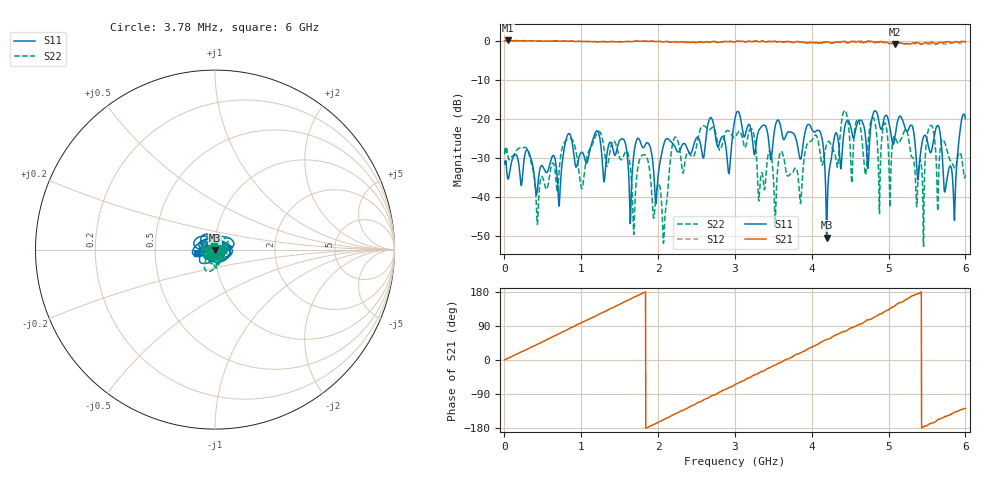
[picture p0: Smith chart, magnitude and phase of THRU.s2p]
# Hz S RI R 50
! RAW DATA - UNCALIBRATED
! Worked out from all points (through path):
!   1600 points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, 3.78 MHz to 6 GHz, reference 50 ohm
!   highest |S21| = 0.07 dB at 45.03 MHz (marker M1); lowest = -0.9 dB at 5.085 GHz (marker M2)
!   lowest |S11| = -50.4 dB at 4.196 GHz (marker M3), VSWR 1.01, Z = 50 - j0.303 ohm
!   |S11| at or under -10 dB: start of sweep to end of sweep
!   |S22| runs from -52.6 to -17.8 dB; largest |S21 - S12| = 0.63
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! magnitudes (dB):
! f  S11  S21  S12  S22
! 3.78 MHz  -31.4  0.0  0.0  -29.1
! 45.03 MHz  -35.3  0.1  0.0  -29.3
! 431.3 MHz  -37.9  -0.1  0.0  -47.0
! 862.5 MHz  -24.3  -0.1  -0.1  -25.0
! 1.005 GHz  -28.6  -0.2  -0.2  -37.8
! 1.23 GHz  -23.8  -0.3  -0.3  -23.2
! 1.684 GHz  -29.3  -0.2  -0.1  -49.6
! 1.796 GHz  -27.2  -0.1  -0.1  -29.3
! 2.003 GHz  -34.4  -0.2  -0.2  -36.8
! 2.921 GHz  -34.0  -0.3  -0.3  -23.1
! 3.004 GHz  -19.8  -0.3  -0.3  -24.8
! 3.525 GHz  -21.8  -0.1  -0.2  -47.6
! 4.001 GHz  -22.7  -0.5  -0.6  -25.6
! 4.196 GHz  -50.4  -0.3  -0.3  -26.4
! 4.459 GHz  -20.5  -0.5  -0.6  -19.2
! 5.003 GHz  -20.8  -0.7  -0.7  -30.3
! 5.085 GHz  -24.4  -0.9  -0.7  -24.8
! 5.445 GHz  -25.3  -0.7  -0.8  -39.0
! 5.554 GHz  -28.5  -0.4  -0.9  -21.7
! 5.644 GHz  -21.7  -0.6  -0.7  -40.8
! 5.854 GHz  -45.1  -0.4  -0.4  -32.5
! 6 GHz  -20.0  -0.3  -0.4  -34.3
